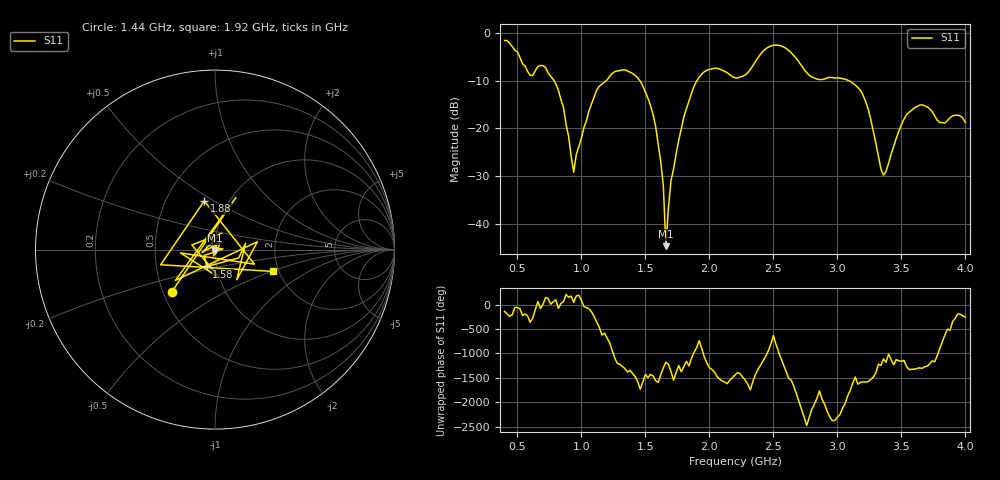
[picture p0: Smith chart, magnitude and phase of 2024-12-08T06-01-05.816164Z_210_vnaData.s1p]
!Created with skrf (http://scikit-rf.org).
# Hz S RI R 50.0
!freq ReS11 ImS11
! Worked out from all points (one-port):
!   181 points, 400 MHz to 4 GHz, reference 50 ohm
!   lowest |S11| = -44.7 dB at 1.66 GHz (marker M1), VSWR 1.01, Z = 49.9 - j0.573 ohm
!   |S11| at or under -10 dB: 786.7 MHz to 1.193 GHz (406.2 MHz wide, 41 % of centre); 1.457 GHz to 1.901 GHz (444 MHz wide, 26.4 % of centre); 3.091 GHz to end of sweep
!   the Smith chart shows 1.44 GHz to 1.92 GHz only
!   S11 on the Smith chart (normalised r, x): 1.44 GHz: 0.55, -0.30; 1.58 GHz: 0.90, -0.17; 1.88 GHz: 0.77, +0.45; 1.92 GHz: 1.86, -0.51
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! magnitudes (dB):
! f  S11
! 400 MHz  -1.5
! 600 MHz  -8.9
! 720 MHz  -7.2
! 860 MHz  -15.6
! 940 MHz  -29.2
! 960 MHz  -25.5
! 1.12 GHz  -11.9
! 1.3 GHz  -7.9
! 1.44 GHz  -9.4
! 1.58 GHz  -19.6
! 1.64 GHz  -32.0
! 1.66 GHz  -44.7
! 1.7 GHz  -31.0
! 1.76 GHz  -22.5
! 1.88 GHz  -11.1
! 1.92 GHz  -9.3
! 2.04 GHz  -7.4
! 2.2 GHz  -9.4
! 2.48 GHz  -2.7
! 2.66 GHz  -4.7
! 2.8 GHz  -9.2
! 3.1 GHz  -10.1
! 3.22 GHz  -14.3
! 3.36 GHz  -29.8
! 3.56 GHz  -16.6
! 3.66 GHz  -15.0
! 3.8 GHz  -18.8
! 4 GHz  -18.8
